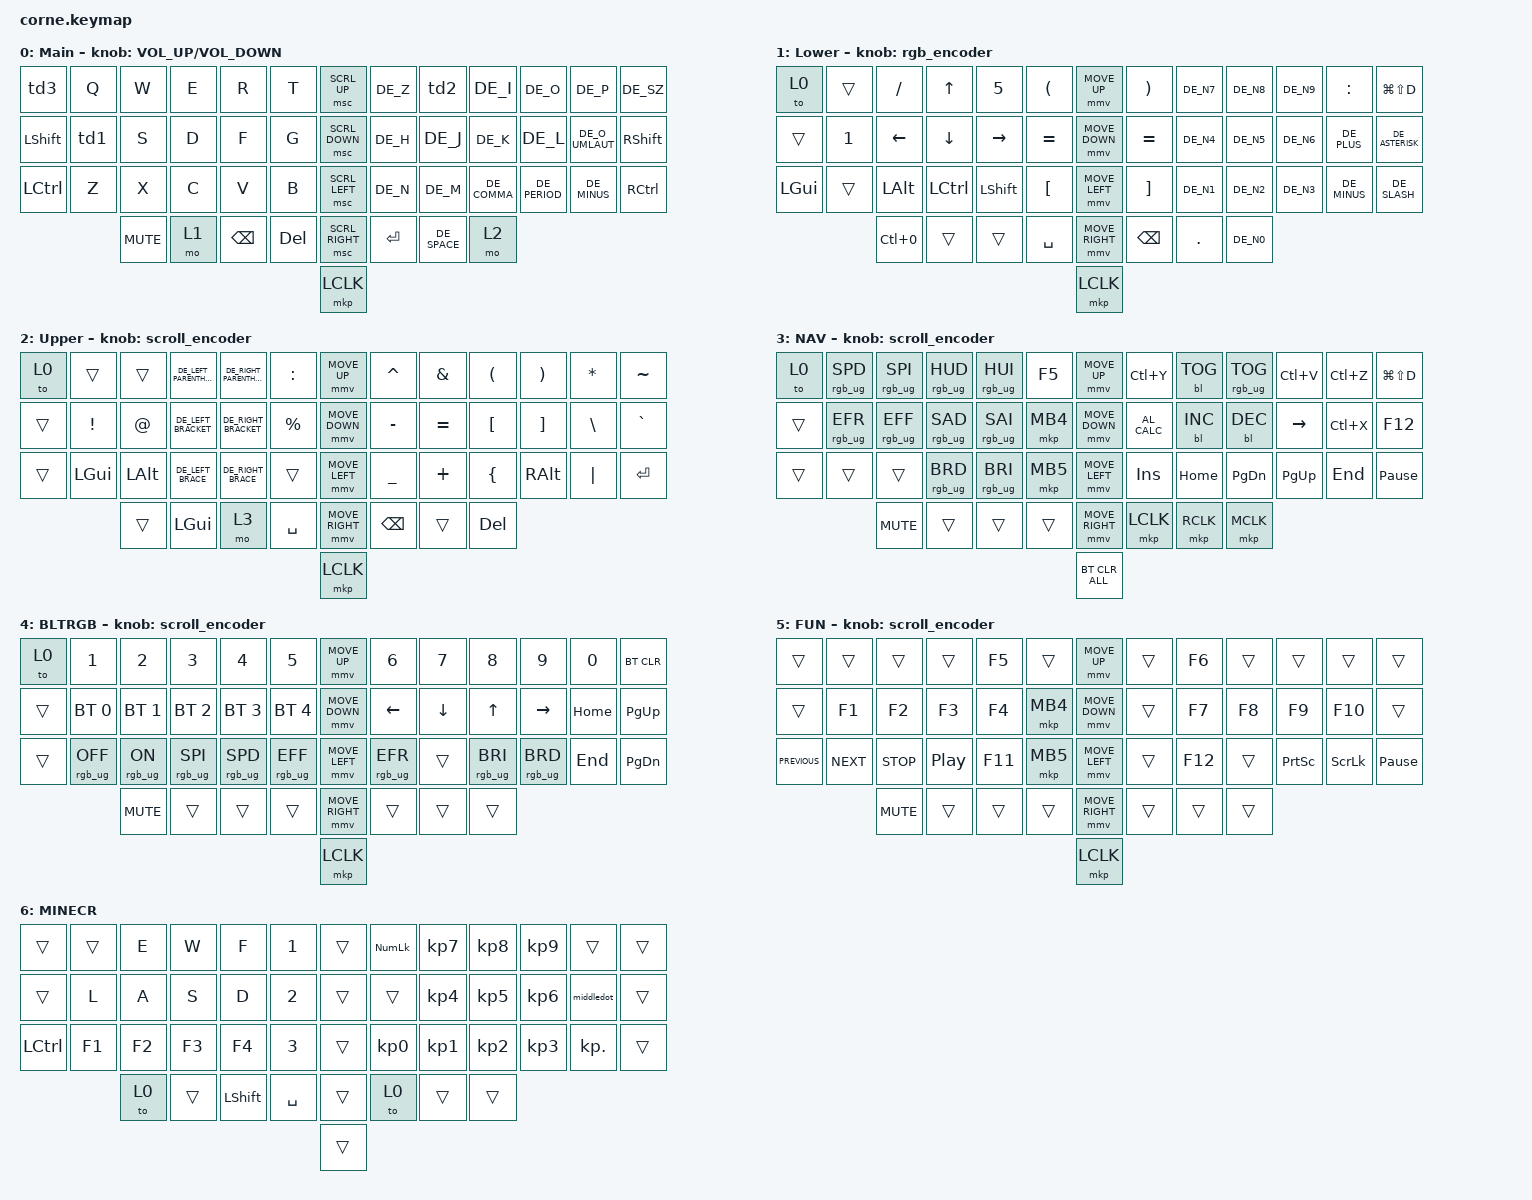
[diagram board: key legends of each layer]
#include <behaviors/mouse_keys.dtsi>
#include <dt-bindings/zmk/mouse.h>
#include <behaviors/mouse_keys.dtsi>
#include "keys_de.h"
#include <dt-bindings/zmk/mouse.h>
#include <behaviors.dtsi>
#include <dt-bindings/zmk/backlight.h>
#include <dt-bindings/zmk/bt.h>
#include <dt-bindings/zmk/keys.h>
#include <dt-bindings/zmk/rgb.h>

#define ZMK_MOUSE_DEFAULT_MOVE_VAL 1200  // 600
#define ZMK_MOUSE_DEFAULT_SCRL_VAL 20    // 10
#define U_MS_U &mmv MOVE_UP
#define U_MS_D &mmv MOVE_DOWN
#define U_MS_L &mmv MOVE_LEFT
#define U_MS_R &mmv MOVE_RIGHT

/ {
    behaviors {
        td0: td0 {
            compatible = "zmk,behavior-tap-dance";
            label = "TD0";
            #binding-cells = <0>;
            bindings = <&kp LEFT_ALT>, <&kp CAPS>;
        };

        td1: td_A_Umlaut {
            compatible = "zmk,behavior-tap-dance";
            #binding-cells = <0>;
            tapping-term-ms = <167>;
            bindings = <&kp A>, <&kp DE_A_UMLAUT>;
        };

        td2: td_U_Umlaut {
            compatible = "zmk,behavior-tap-dance";
            #binding-cells = <0>;
            tapping-term-ms = <169>;
            bindings = <&kp U>, <&kp DE_U_UMLAUT>;
        };

        td3: td_ESC_TAB {
            compatible = "zmk,behavior-tap-dance";
            #binding-cells = <0>;
            tapping-term-ms = <180>;
            bindings = <&kp ESC>, <&kp TAB>;
        };

        hml: hml {
            compatible = "zmk,behavior-hold-tap";
            label = "HML";
            bindings = <&kp>, <&kp>;

            #binding-cells = <2>;
            tapping-term-ms = <250>;
            quick-tap-ms = <200>;
            require-prior-idle-ms = <125>;
            flavor = "tap-preferred";
            hold-trigger-key-positions = <14 15 16 17 21 22 23 24>;
            hold-trigger-on-release;
        };

        sk_mo: sk_mo {
            compatible = "zmk,behavior-hold-tap";
            label = "sk_mo";
            bindings = <&mo>, <&sk>;

            #binding-cells = <2>;
            tapping-term-ms = <150>;
            flavor = "tap-preferred";
        };

        mmv {
            acceleration-exponent = <1>;      // 1
            time-to-max-speed-ms = <900>;    // 40
            delay-ms = <0>;                   // 0
        };

        msc {
            acceleration-exponent = <1>;      // 0
            time-to-max-speed-ms = <400>;      // 500
            delay-ms = <0>;                   // 10
        };
    };

    rgb_encoder: rgb_encoder {
        compatible = "zmk,behavior-sensor-rotate";
        label = "RGB_ENCODER";
        #sensor-binding-cells = <0>;
        bindings = <&rgb_ug RGB_BRI>, <&rgb_ug RGB_BRD>;
    };

    scroll_encoder: scroll_encoder {
        compatible = "zmk,behavior-sensor-rotate";
        #sensor-binding-cells = <0>;
        bindings = <&msc SCRL_DOWN>, <&msc SCRL_UP>;

        tap-ms = <30>;
    };

    combos {
        compatible = "zmk,combos";

        ToggleBLT {
            bindings = <&tog 4>;
            key-positions = <5 7>;
            layers = <0>;
        };

        ToggleMNCR {
            bindings = <&to 6>;
            key-positions = <2 3 4>;
            layers = <0>;
        };

        ToNum {
            bindings = <&to 1>;
            key-positions = <41 4>;
            layers = <0>;
        };

        ToSymbol {
            bindings = <&to 2>;
            key-positions = <45 8>;
            layers = <0>;
        };

        ToNav {
            bindings = <&to 3>;
            key-positions = <42 4>;
            layers = <0>;
        };
    };

    macros {
        middledot: middledot {
            compatible = "zmk,behavior-macro";
            #binding-cells = <0>;
            bindings =
                <&macro_press>,
                <&kp LEFT_ALT>,
                <&macro_tap>,
                <&kp KP_NUMBER_0 &kp KP_NUMBER_1 &kp KP_NUMBER_8 &kp KP_NUMBER_3>,
                <&macro_release>,
                <&kp LEFT_ALT>;

            label = "MIDDLEDOT";
        };
    };

    keymap {
        compatible = "zmk,keymap";

        default_layer {
            display-name = "Main";

            // --------------------------------------------------------------------------------
            // |  TAB |  Q  |  W  |  E  |  R  |  T  |                ↑    |  Y  |  U   |  I  |  O  |  P  | BKSP |      &kp UP_ARROW 
            // | SHIFT |  A  |  S  |  D  |  F  |  G  |               ↓    |  H  |  J   |  K  |  L  |  ;  |  '   | 
            // | CTRL |  Z  |  X  |  C  |  V  |  B  |                ←    |  N  |  M   |  ,  |  .  |  /  | ESC  |
            //                    | GUI | LWR | SPC |                →    | ENT | RSE  | ALT |
            //                                                      enter

            bindings = <
&td3            &kp Q  &kp W       &kp E  &kp R          &kp T      &msc SCRL_UP     &kp DE_Z   &td2          &kp DE_I      &kp DE_O       &kp DE_P         &kp DE_SZ
&kp LEFT_SHIFT  &td1   &kp S       &kp D  &kp F          &kp G      &msc SCRL_DOWN   &kp DE_H   &kp DE_J      &kp DE_K      &kp DE_L       &kp DE_O_UMLAUT  &kp RIGHT_SHIFT
&kp LCTRL       &kp Z  &kp X       &kp C  &kp V          &kp B      &msc SCRL_LEFT   &kp DE_N   &kp DE_M      &kp DE_COMMA  &kp DE_PERIOD  &kp DE_MINUS     &kp RIGHT_CONTROL
                       &kp C_MUTE  &mo 1  &kp BACKSPACE  &kp DEL    &msc SCRL_RIGHT  &kp ENTER  &kp DE_SPACE  &mo 2
                                                                    &mkp LCLK
            >;

            label = "COLEDH";
            sensor-bindings = <&inc_dec_kp C_VOLUME_UP C_VOLUME_DOWN>;
        };

        lower_layer {
            display-name = "Lower";

            // -----------------------------------------------------------------------------------------
            // |  TAB |  1  |  2  |  3  |  4  |  5  |   |  6  |  7  |  8  |  9  |  0  | BKSP |
            // | BTCLR| BT1 | BT2 | BT3 | BT4 | BT5 |   | LFT | DWN |  UP | RGT |     |      |
            // | SHFT |     |     |     |     |     |   |     |     |     |     |     |      |
            //                    | GUI |     | SPC |   | ENT |     | ALT |

            bindings = <
&to 0         &trans  &kp FSLH          &kp UP     &kp N5     &kp LEFT_PARENTHESIS    &mmv MOVE_UP     &kp RIGHT_PARENTHESIS  &kp DE_N7   &kp DE_N8  &kp DE_N9  &kp COLON     &kp LG(LS(D))
&trans        &kp N1  &kp LEFT_ARROW    &kp DOWN   &kp RIGHT  &kp EQUAL               &mmv MOVE_DOWN   &kp EQUAL              &kp DE_N4   &kp DE_N5  &kp DE_N6  &kp DE_PLUS   &kp DE_ASTERISK
&kp LEFT_GUI  &trans  &kp LALT          &kp LCTRL  &kp LSHFT  &kp LEFT_BRACKET        &mmv MOVE_LEFT   &kp RIGHT_BRACKET      &kp DE_N1   &kp DE_N2  &kp DE_N3  &kp DE_MINUS  &kp DE_SLASH
                      &kp LC(NUMBER_0)  &trans     &trans     &kp SPACE               &mmv MOVE_RIGHT  &kp BSPC               &kp PERIOD  &kp DE_N0
                                                                                      &mkp LCLK
            >;

            label = "NUMBER";
            sensor-bindings = <&rgb_encoder>;
        };

        raise_layer {
            display-name = "Upper";

            // -----------------------------------------------------------------------------------------
            // |  TAB |  !  |  @  |  #  |  $  |  %  |   |  ^  |  &  |  *  |  (  |  )  | BKSP |
            // | CTRL |     |     |     |     |     |   |  -  |  =  |  [  |  ]  |  \  |  `   |
            // | SHFT |     |     |     |     |     |   |  _  |  +  |  {  |  }  | "|" |  ~   |
            //                    | GUI |     | SPC |   | ENT |     | ALT |

            bindings = <
&to 0   &trans           &trans       &kp DE_LEFT_PARENTHESIS  &kp DE_RIGHT_PARENTHESIS  &kp COLON      &mmv MOVE_UP     &kp CARET  &kp AMPS   &kp LEFT_PARENTHESIS  &kp RIGHT_PARENTHESIS  &kp ASTERISK  &kp TILDE
&trans  &kp EXCLAMATION  &kp AT_SIGN  &kp DE_LEFT_BRACKET      &kp DE_RIGHT_BRACKET      &kp PERCENT    &mmv MOVE_DOWN   &kp MINUS  &kp EQUAL  &kp LBKT              &kp RBKT               &kp BSLH      &kp GRAVE
&trans  &kp LGUI         &kp LALT     &kp DE_LEFT_BRACE        &kp DE_RIGHT_BRACE        &trans         &mmv MOVE_LEFT   &kp UNDER  &kp PLUS   &kp LBRC              &kp RIGHT_ALT          &kp PIPE      &kp RET
                         &trans       &kp LEFT_GUI             &mo 3                     &kp SPACE      &mmv MOVE_RIGHT  &kp BSPC   &trans     &kp DEL
                                                                                                        &mkp LCLK
            >;

            label = "SYMBOL";
            sensor-bindings = <&scroll_encoder>;
        };

        layer_3 {
            display-name = "NAV";
            bindings = <
&to 0   &rgb_ug RGB_SPD  &rgb_ug RGB_SPI  &rgb_ug RGB_HUD  &rgb_ug RGB_HUI  &kp F5      &mmv MOVE_UP     &kp LC(Y)      &bl BL_TOG  &rgb_ug RGB_TOG  &kp LC(V)  &kp LC(Z)  &kp LG(LS(D))
&trans  &rgb_ug RGB_EFR  &rgb_ug RGB_EFF  &rgb_ug RGB_SAD  &rgb_ug RGB_SAI  &mkp MB4    &mmv MOVE_DOWN   &kp C_AL_CALC  &bl BL_INC  &bl BL_DEC       &kp RIGHT  &kp LC(X)  &kp F12
&trans  &trans           &trans           &rgb_ug RGB_BRD  &rgb_ug RGB_BRI  &mkp MB5    &mmv MOVE_LEFT   &kp INSERT     &kp HOME    &kp PG_DN        &kp PG_UP  &kp END    &kp PAUSE_BREAK
                         &kp C_MUTE       &trans           &trans           &trans      &mmv MOVE_RIGHT  &mkp LCLK      &mkp RCLK   &mkp MCLK
                                                                                        &bt BT_CLR_ALL
            >;

            label = "NAV";
            sensor-bindings = <&scroll_encoder>;
        };

        layer_4 {
            label = "BLTRGB";
            display-name = "BLTRGB";
            bindings = <
&to 0   &kp N1           &kp N2          &kp N3           &kp N4           &kp N5             &mmv MOVE_UP     &kp N6           &kp N7    &kp N8           &kp N9           &kp N0    &bt BT_CLR
&trans  &bt BT_SEL 0     &bt BT_SEL 1    &bt BT_SEL 2     &bt BT_SEL 3     &bt BT_SEL 4       &mmv MOVE_DOWN   &kp LEFT         &kp DOWN  &kp UP           &kp RIGHT        &kp HOME  &kp PG_UP
&trans  &rgb_ug RGB_OFF  &rgb_ug RGB_ON  &rgb_ug RGB_SPI  &rgb_ug RGB_SPD  &rgb_ug RGB_EFF    &mmv MOVE_LEFT   &rgb_ug RGB_EFR  &trans    &rgb_ug RGB_BRI  &rgb_ug RGB_BRD  &kp END   &kp PG_DN
                         &kp C_MUTE      &trans           &trans           &trans             &mmv MOVE_RIGHT  &trans           &trans    &trans
                                                                                              &mkp LCLK
            >;

            sensor-bindings = <&scroll_encoder>;
        };

        layer_5 {
            label = "FUN";
            display-name = "FUN";
            bindings = <
&trans          &trans      &trans      &trans            &kp F5   &trans      &mmv MOVE_UP     &trans  &kp F6   &trans  &trans           &trans          &trans
&trans          &kp F1      &kp F2      &kp F3            &kp F4   &mkp MB4    &mmv MOVE_DOWN   &trans  &kp F7   &kp F8  &kp F9           &kp F10         &trans
&kp C_PREVIOUS  &kp C_NEXT  &kp C_STOP  &kp C_PLAY_PAUSE  &kp F11  &mkp MB5    &mmv MOVE_LEFT   &trans  &kp F12  &trans  &kp PRINTSCREEN  &kp SCROLLLOCK  &kp PAUSE_BREAK
                            &kp C_MUTE  &trans            &trans   &trans      &mmv MOVE_RIGHT  &trans  &trans   &trans
                                                                               &mkp LCLK
            >;

            sensor-bindings = <&scroll_encoder>;
        };

        layer_6 {
            bindings = <
&trans     &trans  &kp E   &kp W   &kp F      &kp NUMBER_1    &trans  &kp KP_NUMLOCK   &kp KP_NUMBER_7  &kp KP_NUMBER_8  &kp KP_NUMBER_9  &trans      &trans
&trans     &kp L   &kp A   &kp S   &kp D      &kp N2          &trans  &trans           &kp KP_NUMBER_4  &kp KP_NUMBER_5  &kp KP_NUMBER_6  &middledot  &trans
&kp LCTRL  &kp F1  &kp F2  &kp F3  &kp F4     &kp N3          &trans  &kp KP_NUMBER_0  &kp KP_NUMBER_1  &kp KP_NUMBER_2  &kp KP_NUMBER_3  &kp KP_DOT  &trans
                   &to 0   &trans  &kp LSHFT  &kp SPACE       &trans  &to 0            &trans           &trans
                                                              &trans
            >;

            label = "MINECR";
        };
    };
};
